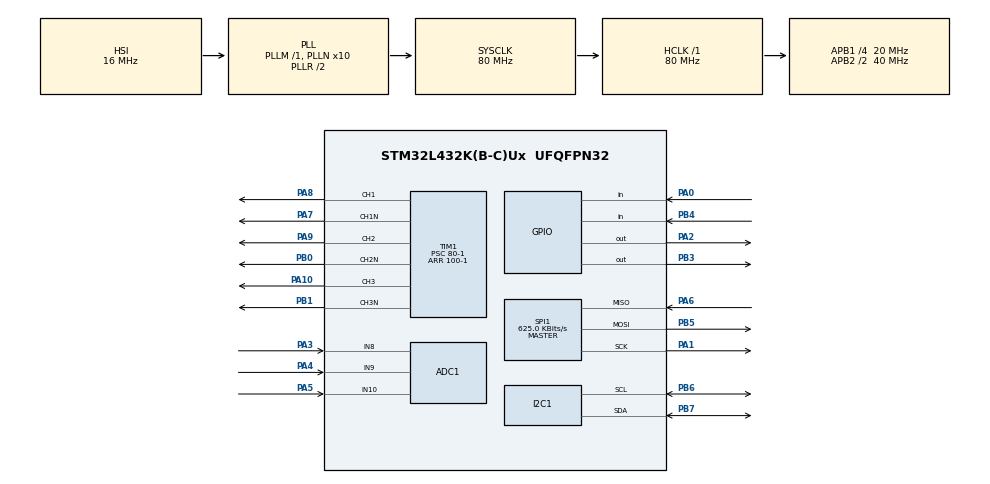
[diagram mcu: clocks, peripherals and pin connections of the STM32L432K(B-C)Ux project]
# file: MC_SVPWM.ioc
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ADC1.Channel-0\#ChannelRegularConversion=ADC_CHANNEL_9
ADC1.NbrOfConversionFlag=1
ADC1.OffsetNumber-0\#ChannelRegularConversion=ADC_OFFSET_NONE
ADC1.Rank-0\#ChannelRegularConversion=1
ADC1.SamplingTime-0\#ChannelRegularConversion=ADC_SAMPLETIME_2CYCLES_5
ADC1.master=1
I2C1.Timing=0x00404C74
Mcu.Family=STM32L4
Mcu.Name=STM32L432K(B-C)Ux
Mcu.Package=UFQFPN32
NVIC.PriorityGroup=NVIC_PRIORITYGROUP_4
NVIC.SPI1_IRQn=true\:0\:0\:false\:false\:true\:true\:true
NVIC.TIM1_BRK_TIM15_IRQn=true\:0\:0\:false\:false\:true\:true\:true
PA0.Signal=GPIO_Input
PA1.Mode=Full_Duplex_Master
PA1.Signal=SPI1_SCK
PA10.Signal=S_TIM1_CH3
PA15\ (JTDI).Signal=USART2_RX
PA2.Signal=GPIO_Output
PA3.Signal=ADCx_IN8
PA4.Signal=ADCx_IN9
PA5.Signal=ADCx_IN10
PA6.Mode=Full_Duplex_Master
PA6.Signal=SPI1_MISO
PA7.Mode=PWM Generation1 CH1 CH1N
PA7.Signal=TIM1_CH1N
PA8.Signal=S_TIM1_CH1
PA9.Signal=S_TIM1_CH2
PB0.Mode=PWM Generation2 CH2 CH2N
PB0.Signal=TIM1_CH2N
PB1.Mode=PWM Generation3 CH3 CH3N
PB1.Signal=TIM1_CH3N
PB3\ (JTDO-TRACESWO).Signal=GPIO_Output
PB4\ (NJTRST).Signal=GPIO_Input
PB5.Mode=Full_Duplex_Master
PB5.Signal=SPI1_MOSI
PB6.Mode=I2C
PB6.Signal=I2C1_SCL
PB7.Mode=I2C
PB7.Signal=I2C1_SDA
ProjectManager.HeapSize=0x200
ProjectManager.StackSize=0x400
ProjectManager.TargetToolchain=STM32CubeIDE
RCC.ADCFreq_Value=64000000
RCC.AHBFreq_Value=80000000
RCC.APB1CLKDivider=RCC_HCLK_DIV4
RCC.APB1Freq_Value=20000000
RCC.APB1TimFreq_Value=40000000
RCC.APB2CLKDivider=RCC_HCLK_DIV2
RCC.APB2Freq_Value=40000000
RCC.APB2TimFreq_Value=80000000
RCC.CortexFreq_Value=80000000
RCC.HCLKFreq_Value=80000000
RCC.HSE_VALUE=8000000
RCC.HSI48_VALUE=48000000
RCC.HSI_VALUE=16000000
RCC.LSE_VALUE=32768
RCC.MSI_VALUE=4000000
RCC.PLLN=10
RCC.PLLSourceVirtual=RCC_PLLSOURCE_HSI
RCC.SYSCLKFreq_VALUE=80000000
RCC.SYSCLKSource=RCC_SYSCLKSOURCE_PLLCLK
RCC.USBFreq_Value=64000000
RCC.VCOOutputFreq_Value=160000000
SH.ADCx_IN10.0=ADC1_IN10,IN10-Single-Ended
SH.ADCx_IN8.0=ADC1_IN8,IN8-Single-Ended
SH.ADCx_IN9.0=ADC1_IN9,IN9-Single-Ended
SH.S_TIM1_CH1.0=TIM1_CH1,PWM Generation1 CH1 CH1N
SH.S_TIM1_CH2.0=TIM1_CH2,PWM Generation2 CH2 CH2N
SH.S_TIM1_CH3.0=TIM1_CH3,PWM Generation3 CH3 CH3N
SPI1.BaudRatePrescaler=SPI_BAUDRATEPRESCALER_64
SPI1.CalculateBaudRate=625.0 KBits/s
SPI1.DataSize=SPI_DATASIZE_8BIT
SPI1.Direction=SPI_DIRECTION_2LINES
SPI1.Mode=SPI_MODE_MASTER
SPI1.NSSPMode=SPI_NSS_PULSE_DISABLE
SPI1.VirtualType=VM_MASTER
TIM1.Channel-PWM\ Generation1\ CH1\ CH1N=TIM_CHANNEL_1
TIM1.Channel-PWM\ Generation2\ CH2\ CH2N=TIM_CHANNEL_2
TIM1.Channel-PWM\ Generation3\ CH3\ CH3N=TIM_CHANNEL_3
TIM1.CounterMode=TIM_COUNTERMODE_CENTERALIGNED3
TIM1.DeadTime=100
TIM1.Period=100-1
TIM1.Prescaler=80-1
TIM15.Period=100-1
TIM15.Prescaler=80-1
VP_TIM15_VS_ClockSourceITR.Mode=TriggerSource_ITR0
VP_TIM1_VS_ClockSourceINT.Mode=Internal
VP_TIM1_VS_ClockSourceITR.Mode=TriggerSource_ITR0
board=custom

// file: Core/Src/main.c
/* USER CODE BEGIN Header */
/**
  ******************************************************************************
  * @file           : main.c
  * @brief          : Main program body
  ******************************************************************************
  * @attention
  *
  * <h2><center>&copy; Copyright (c) 2020 STMicroelectronics.
  * All rights reserved.</center></h2>
  *
  * This software component is licensed by ST under BSD 3-Clause license,
  * the "License"; You may not use this file except in compliance with the
  * License. You may obtain a copy of the License at:
  *                        opensource.org/licenses/BSD-3-Clause
  *
  ******************************************************************************
  */
/* USER CODE END Header */
#include "main.h"

/* USER CODE BEGIN Includes */
#include "math.h"
#include "VHZ.h"
#include "SVPWM.h"
#include "PID.h"
#include <stdint.h>
#include <stdio.h>
#include <string.h>
#include <DEFINES.H>
/* USER CODE END Includes */

ADC_HandleTypeDef hadc1;

I2C_HandleTypeDef hi2c1;

SPI_HandleTypeDef hspi1;

TIM_HandleTypeDef htim1;
TIM_HandleTypeDef htim15;

/* USER CODE BEGIN PV */
static const uint8_t TMP102_ADDR = 0X48 << 1;
static const uint8_t REG_TEMP = 0x00;
/* USER CODE END PV */

void SystemClock_Config(void);
static void MX_GPIO_Init(void);
static void MX_TIM1_Init(void);
static void MX_TIM15_Init(void);
static void MX_SPI1_Init(void);
static void MX_ADC1_Init(void);
static void MX_I2C1_Init(void);

/* USER CODE BEGIN 0 */
VHZPROFILE vhz1;
SVPWM svpwm1;
PIDController slip;
int OldSector;
float a,b,c = 0;
uint16_t raw = 0;
uint16_t nFaultData = 0;
uint16_t pwrGood = 0;
// 25AA040A instructions
const uint8_t EEPROM_READ = 0b00000011;
const uint8_t EEPROM_WRITE = 0b00000010;
const uint8_t EEPROM_WRDI = 0b00000100;
const uint8_t EEPROM_WREN = 0b00000110;
const uint8_t EEPROM_RDSR = 0b00000101;
const uint8_t EEPROM_WRSR = 0b00000001;

// Global flags
volatile uint8_t spi_xmit_flag = 0;
volatile uint8_t spi_recv_flag = 0;

/* USER CODE END 0 */

int main(void)
{
  /* USER CODE BEGIN 1 */
  SVPWM_Init(&svpwm1, 10000);
  VHZ_Init(&vhz1, 1, 0.1, 10, 100);
  PIDController_Init(&slip, 5, 0, -500, 500, 0, 0, 10000);

  // Setting up SPI buffer
  char spi_buf[20];
  char uart_buf[50];
  int uart_buf_len;
  uint8_t addr;
  uint8_t wip;
  uint8_t state = 0;
	HAL_StatusTypeDef ret;	//send	temp
	uint8_t buf [12];		// store temp
	int current;
	  int16_t val;
	  float temp_c;

  /* USER CODE END 1 */

  /* MCU Configuration--------------------------------------------------------*/

  /* Reset of all peripherals, Initializes the Flash interface and the Systick. */
  HAL_Init();

  /* Configure the system clock */
  SystemClock_Config();

  /* Initialize all configured peripherals */
  MX_GPIO_Init();
  MX_TIM1_Init();
  MX_TIM15_Init();
  MX_SPI1_Init();
  MX_ADC1_Init();
  MX_I2C1_Init();
  /* USER CODE BEGIN 2 */

  // Chip select pin should default high
  HAL_GPIO_WritePin(GPIOB, GPIO_PIN_3, GPIO_PIN_SET);

  // Uart print
  //uart_buf_len = sprintf(uart_buf, "SPI Test\r\n");
//  HAL_UART_Transmit(&huart2, (uint8_t*)uart_buf, uart_buf_len, 100);

  // Set starting address in EEPROM (arbitrarily set to 5). Note that for the
  // 25AA040A, we can't do sequential writes outside of page (16 bytes)
  addr = 0x05;

  // Enable write enable latch (allow write operations)
//  HAL_GPIO_WritePin(GPIOB, GPIO_PIN_6, GPIO_PIN_RESET);
//  HAL_SPI_Transmit(&hspi1, (uint8_t*)&EEPROM_WREN, 1, 100);
//  HAL_GPIO_WritePin(GPIOB, GPIO_PIN_6, GPIO_PIN_SET);
//

  HAL_TIM_PWM_Start(&htim1, TIM_CHANNEL_1);
  HAL_TIMEx_PWMN_Start(&htim1, TIM_CHANNEL_1);
  HAL_TIM_PWM_Start(&htim1, TIM_CHANNEL_2);
  HAL_TIMEx_PWMN_Start(&htim1, TIM_CHANNEL_2);
  HAL_TIM_PWM_Start(&htim1, TIM_CHANNEL_3);
  HAL_TIMEx_PWMN_Start(&htim1, TIM_CHANNEL_3);
  HAL_TIM_Base_Start_IT(&htim15);
  /* USER CODE END 2 */

  /* Infinite loop */
  /* USER CODE BEGIN WHILE */
while(1){
	nFaultData = HAL_GPIO_ReadPin(GPIOA, GPIO_PIN_0);
	HAL_ADC_Start(&hadc1);
	HAL_ADC_PollForConversion(&hadc1, HAL_MAX_DELAY);
	raw = HAL_ADC_GetValue(&hadc1);
	pwrGood = HAL_GPIO_ReadPin(GPIOA, GPIO_PIN_4);

	//Current sensing start
	current = current_sensing (raw);
	//Current sensing end

	// Temperature sensing beginning
	buf [0] = REG_TEMP;//REQUEST TO READ
		  ret = HAL_I2C_Master_Transmit(&hi2c1, TMP102_ADDR, buf, 1, HAL_MAX_DELAY);
		  if (ret != HAL_OK)
		  {
			  	 strcpy ((char*)buf, "Error Tx\r\n");
		  }
		  else
		  {
			  //READ 2 bytes from the temperature register
		      ret = HAL_I2C_Master_Receive(&hi2c1, TMP102_ADDR, buf, 2, HAL_MAX_DELAY);
			  if (ret != HAL_OK)
			  {
				  	 strcpy ((char*)buf, "Error Tx\r\n");
			  }
			  else
			  {
				  //combine the bytes
				  val = ((int16_t)buf[0]<<4) | (buf[1] >> 4);
				  //convert to 2's complement, since temperature can be negative
				  if  (val > 0x7FF)
				  {
					  val |= 0xF000;
				  }
				  // Convert to float temperature value (Celsius)
				  temp_c = val * 0.0625;
				  // Convert temperature to decimal format
				  temp_c *= 100;
				  sprintf ((char*)buf,
			              "%u.%u C\r\n",
						  ((unsigned int)temp_c/100),
						  ((unsigned int)temp_c %100));
			  }
		  }
		  //HAL_UART_Transmit(&huart2, buf, strlen((char*)buf), HAL_MAX_DELAY);

		// Temperature sensing end

	HAL_Delay(1000);
	 /* switch(state)
	      {
	        // Transmit
	        case 0:

	          // First 2 bytes of buffer are instruction and address
	          spi_buf[0] = EEPROM_WRITE;
	          spi_buf[1] = addr;

	          // Fill buffer with stuff to write to EEPROM
	          for (int i = 0; i < 10; i++)
	          {
	            spi_buf[2 + i] = i;
	          }

	          // Enable write enable latch (allow write operations)
	          HAL_GPIO_WritePin(GPIOB, GPIO_PIN_6, GPIO_PIN_RESET);
	          HAL_SPI_Transmit(&hspi1, (uint8_t *)&EEPROM_WREN, 1, 100);
	          HAL_GPIO_WritePin(GPIOB, GPIO_PIN_6, GPIO_PIN_SET);

	          // Perform non-blocking write to SPI
	          HAL_GPIO_WritePin(GPIOB, GPIO_PIN_6, GPIO_PIN_RESET);
	          HAL_SPI_Transmit_IT(&hspi1, (uint8_t *)spi_buf, 12);

			  //Getting board to compile for DRVH305

	          // Go to next state: waiting for interrupt flag
	          state += 1;

	          break;

	        // Wait for transmit flag
	        case 1:

	          if (spi_xmit_flag){
	            // Clear flag and go to next state
	            spi_xmit_flag = 0;
	            state += 1;
	          }

	          break;

	        // Wait for WIP bit to be cleared
	        case 2:

	          // Read status register
	         /* HAL_GPIO_WritePin(GPIOB, GPIO_PIN_6, GPIO_PIN_RESET);
	          HAL_SPI_Transmit(&hspi1, (uint8_t *)&EEPROM_RDSR, 1, 100);
	          HAL_SPI_Receive(&hspi3, (uint8_t *)spi_buf, 1, 100);
	          HAL_GPIO_WritePin(GPIOB, GPIO_PIN_6, GPIO_PIN_SET);

	          // Mask out WIP bit
	          wip = spi_buf[0] & 0b00000001;

	          // If WIP is cleared, go to next state
	          if (wip == 0)
	          {
	            state += 1;
	          }

	          break;

	        // Set up for interrupt-based SPI receive
	        case 3:

	          // Clear SPI buffer
	          for (int i = 0; i < 12; i++)
	          {
	            spi_buf[i] = 0;
	          }

	          // Read the 10 bytes back
	          HAL_GPIO_WritePin(GPIOB, GPIO_PIN_6, GPIO_PIN_RESET);
	          HAL_SPI_Transmit(&hspi1, (uint8_t *)&EEPROM_READ, 1, 100);
	          HAL_SPI_Transmit(&hspi1, (uint8_t *)&addr, 1, 100);
	          HAL_SPI_Receive_IT(&hspi3, (uint8_t *)spi_buf, 10);

	          // Go to next state: waiting for receive to finish
	          state += 1;

	          break;

	        // Wait for receive flag
	        case 4:

	          if (spi_recv_flag)
	          {
	            // Clear flag and go to next state
	            spi_recv_flag = 0;
	            state += 1;
	          }

	          break;

	        // Print out received bytes and wait before retransmitting
	        case 5:

	          // Print out bytes
//	          for (int i = 0; i < 10; i++)
//	          {
//	            uart_buf_len = sprintf(uart_buf,
//	                                    "0xx ",(unsigned int)spi_buf[i]);
//	            HAL_UART_Transmit(&huart2, (uint8_t *)uart_buf, uart_buf_len, 100);
//	          }

//	          // Print newline
//	          uart_buf_len = sprintf(uart_buf, "\r\n");
//	          HAL_UART_Transmit(&huart2, (uint8_t *)uart_buf, uart_buf_len, 100);

	          // Wait a few seconds before retransmitting (yes, I know that this is
	          // blocking--you can make it non-blocking if you wish. I'm lazy.)
	          HAL_Delay(1000);
	          state = 0;

	          break;

	        default:
	          break;
	      }*/

    /* USER CODE END WHILE */

    /* USER CODE BEGIN 3 */
/*	if(vhz1.Freq >= vhz1.FreqRated){
		vhz1.Freq = 0.01;
	}
	else{
		vhz1.Freq += 0.001;
	}
	if(a >= 10){
		a = 0;
	}
	else{
		a += 0.001;
	}
	HAL_Delay(1);*/
  }
  /* USER CODE END 3 */
}

void SystemClock_Config(void)
{
  RCC_OscInitTypeDef RCC_OscInitStruct = {0};
  RCC_ClkInitTypeDef RCC_ClkInitStruct = {0};
  RCC_PeriphCLKInitTypeDef PeriphClkInit = {0};

  /** Initializes the RCC Oscillators according to the specified parameters
  * in the RCC_OscInitTypeDef structure.
  */
  RCC_OscInitStruct.OscillatorType = RCC_OSCILLATORTYPE_HSI;
  RCC_OscInitStruct.HSIState = RCC_HSI_ON;
  RCC_OscInitStruct.HSICalibrationValue = RCC_HSICALIBRATION_DEFAULT;
  RCC_OscInitStruct.PLL.PLLState = RCC_PLL_ON;
  RCC_OscInitStruct.PLL.PLLSource = RCC_PLLSOURCE_HSI;
  RCC_OscInitStruct.PLL.PLLM = 1;
  RCC_OscInitStruct.PLL.PLLN = 10;
  RCC_OscInitStruct.PLL.PLLP = RCC_PLLP_DIV7;
  RCC_OscInitStruct.PLL.PLLQ = RCC_PLLQ_DIV2;
  RCC_OscInitStruct.PLL.PLLR = RCC_PLLR_DIV2;
  if (HAL_RCC_OscConfig(&RCC_OscInitStruct) != HAL_OK)
  {
    Error_Handler();
  }
  /** Initializes the CPU, AHB and APB buses clocks
  */
  RCC_ClkInitStruct.ClockType = RCC_CLOCKTYPE_HCLK|RCC_CLOCKTYPE_SYSCLK
                              |RCC_CLOCKTYPE_PCLK1|RCC_CLOCKTYPE_PCLK2;
  RCC_ClkInitStruct.SYSCLKSource = RCC_SYSCLKSOURCE_PLLCLK;
  RCC_ClkInitStruct.AHBCLKDivider = RCC_SYSCLK_DIV1;
  RCC_ClkInitStruct.APB1CLKDivider = RCC_HCLK_DIV4;
  RCC_ClkInitStruct.APB2CLKDivider = RCC_HCLK_DIV2;

  if (HAL_RCC_ClockConfig(&RCC_ClkInitStruct, FLASH_LATENCY_4) != HAL_OK)
  {
    Error_Handler();
  }
  PeriphClkInit.PeriphClockSelection = RCC_PERIPHCLK_I2C1|RCC_PERIPHCLK_ADC;
  PeriphClkInit.I2c1ClockSelection = RCC_I2C1CLKSOURCE_PCLK1;
  PeriphClkInit.AdcClockSelection = RCC_ADCCLKSOURCE_PLLSAI1;
  PeriphClkInit.PLLSAI1.PLLSAI1Source = RCC_PLLSOURCE_HSI;
  PeriphClkInit.PLLSAI1.PLLSAI1M = 1;
  PeriphClkInit.PLLSAI1.PLLSAI1N = 8;
  PeriphClkInit.PLLSAI1.PLLSAI1P = RCC_PLLP_DIV7;
  PeriphClkInit.PLLSAI1.PLLSAI1Q = RCC_PLLQ_DIV2;
  PeriphClkInit.PLLSAI1.PLLSAI1R = RCC_PLLR_DIV2;
  PeriphClkInit.PLLSAI1.PLLSAI1ClockOut = RCC_PLLSAI1_ADC1CLK;
  if (HAL_RCCEx_PeriphCLKConfig(&PeriphClkInit) != HAL_OK)
  {
    Error_Handler();
  }
  /** Configure the main internal regulator output voltage
  */
  if (HAL_PWREx_ControlVoltageScaling(PWR_REGULATOR_VOLTAGE_SCALE1) != HAL_OK)
  {
    Error_Handler();
  }
}

static void MX_ADC1_Init(void)
{

  ADC_ChannelConfTypeDef sConfig = {0};

  /** Common config
  */
  hadc1.Instance = ADC1;
  hadc1.Init.ClockPrescaler = ADC_CLOCK_ASYNC_DIV1;
  hadc1.Init.Resolution = ADC_RESOLUTION_12B;
  hadc1.Init.DataAlign = ADC_DATAALIGN_RIGHT;
  hadc1.Init.ScanConvMode = ADC_SCAN_DISABLE;
  hadc1.Init.EOCSelection = ADC_EOC_SINGLE_CONV;
  hadc1.Init.LowPowerAutoWait = DISABLE;
  hadc1.Init.ContinuousConvMode = DISABLE;
  hadc1.Init.NbrOfConversion = 1;
  hadc1.Init.DiscontinuousConvMode = DISABLE;
  hadc1.Init.ExternalTrigConv = ADC_SOFTWARE_START;
  hadc1.Init.ExternalTrigConvEdge = ADC_EXTERNALTRIGCONVEDGE_NONE;
  hadc1.Init.DMAContinuousRequests = DISABLE;
  hadc1.Init.Overrun = ADC_OVR_DATA_PRESERVED;
  hadc1.Init.OversamplingMode = DISABLE;
  if (HAL_ADC_Init(&hadc1) != HAL_OK)
  {
    Error_Handler();
  }
  /** Configure Regular Channel
  */
  sConfig.Channel = ADC_CHANNEL_9;
  sConfig.Rank = ADC_REGULAR_RANK_1;
  sConfig.SamplingTime = ADC_SAMPLETIME_2CYCLES_5;
  sConfig.SingleDiff = ADC_SINGLE_ENDED;
  sConfig.OffsetNumber = ADC_OFFSET_NONE;
  sConfig.Offset = 0;
  if (HAL_ADC_ConfigChannel(&hadc1, &sConfig) != HAL_OK)
  {
    Error_Handler();
  }

}

static void MX_I2C1_Init(void)
{

  hi2c1.Instance = I2C1;
  hi2c1.Init.Timing = 0x00404C74;
  hi2c1.Init.OwnAddress1 = 0;
  hi2c1.Init.AddressingMode = I2C_ADDRESSINGMODE_7BIT;
  hi2c1.Init.DualAddressMode = I2C_DUALADDRESS_DISABLE;
  hi2c1.Init.OwnAddress2 = 0;
  hi2c1.Init.OwnAddress2Masks = I2C_OA2_NOMASK;
  hi2c1.Init.GeneralCallMode = I2C_GENERALCALL_DISABLE;
  hi2c1.Init.NoStretchMode = I2C_NOSTRETCH_DISABLE;
  if (HAL_I2C_Init(&hi2c1) != HAL_OK)
  {
    Error_Handler();
  }
  /** Configure Analogue filter
  */
  if (HAL_I2CEx_ConfigAnalogFilter(&hi2c1, I2C_ANALOGFILTER_ENABLE) != HAL_OK)
  {
    Error_Handler();
  }
  /** Configure Digital filter
  */
  if (HAL_I2CEx_ConfigDigitalFilter(&hi2c1, 0) != HAL_OK)
  {
    Error_Handler();
  }

}

static void MX_SPI1_Init(void)
{

  /* SPI1 parameter configuration*/
  hspi1.Instance = SPI1;
  hspi1.Init.Mode = SPI_MODE_MASTER;
  hspi1.Init.Direction = SPI_DIRECTION_2LINES;
  hspi1.Init.DataSize = SPI_DATASIZE_8BIT;
  hspi1.Init.CLKPolarity = SPI_POLARITY_LOW;
  hspi1.Init.CLKPhase = SPI_PHASE_1EDGE;
  hspi1.Init.NSS = SPI_NSS_SOFT;
  hspi1.Init.BaudRatePrescaler = SPI_BAUDRATEPRESCALER_64;
  hspi1.Init.FirstBit = SPI_FIRSTBIT_MSB;
  hspi1.Init.TIMode = SPI_TIMODE_DISABLE;
  hspi1.Init.CRCCalculation = SPI_CRCCALCULATION_DISABLE;
  hspi1.Init.CRCPolynomial = 7;
  hspi1.Init.CRCLength = SPI_CRC_LENGTH_DATASIZE;
  hspi1.Init.NSSPMode = SPI_NSS_PULSE_DISABLE;
  if (HAL_SPI_Init(&hspi1) != HAL_OK)
  {
    Error_Handler();
  }

}

static void MX_TIM1_Init(void)
{

  TIM_ClockConfigTypeDef sClockSourceConfig = {0};
  TIM_SlaveConfigTypeDef sSlaveConfig = {0};
  TIM_MasterConfigTypeDef sMasterConfig = {0};
  TIM_OC_InitTypeDef sConfigOC = {0};
  TIM_BreakDeadTimeConfigTypeDef sBreakDeadTimeConfig = {0};

  htim1.Instance = TIM1;
  htim1.Init.Prescaler = 80-1;
  htim1.Init.CounterMode = TIM_COUNTERMODE_CENTERALIGNED3;
  htim1.Init.Period = 100-1;
  htim1.Init.ClockDivision = TIM_CLOCKDIVISION_DIV1;
  htim1.Init.RepetitionCounter = 0;
  htim1.Init.AutoReloadPreload = TIM_AUTORELOAD_PRELOAD_DISABLE;
  if (HAL_TIM_Base_Init(&htim1) != HAL_OK)
  {
    Error_Handler();
  }
  sClockSourceConfig.ClockSource = TIM_CLOCKSOURCE_INTERNAL;
  if (HAL_TIM_ConfigClockSource(&htim1, &sClockSourceConfig) != HAL_OK)
  {
    Error_Handler();
  }
  if (HAL_TIM_PWM_Init(&htim1) != HAL_OK)
  {
    Error_Handler();
  }
  sSlaveConfig.SlaveMode = TIM_SLAVEMODE_DISABLE;
  sSlaveConfig.InputTrigger = TIM_TS_ITR0;
  if (HAL_TIM_SlaveConfigSynchro(&htim1, &sSlaveConfig) != HAL_OK)
  {
    Error_Handler();
  }
  sMasterConfig.MasterOutputTrigger = TIM_TRGO_RESET;
  sMasterConfig.MasterOutputTrigger2 = TIM_TRGO2_RESET;
  sMasterConfig.MasterSlaveMode = TIM_MASTERSLAVEMODE_DISABLE;
  if (HAL_TIMEx_MasterConfigSynchronization(&htim1, &sMasterConfig) != HAL_OK)
  {
    Error_Handler();
  }
  sConfigOC.OCMode = TIM_OCMODE_PWM1;
  sConfigOC.Pulse = 0;
  sConfigOC.OCPolarity = TIM_OCPOLARITY_HIGH;
  sConfigOC.OCNPolarity = TIM_OCNPOLARITY_HIGH;
  sConfigOC.OCFastMode = TIM_OCFAST_DISABLE;
  sConfigOC.OCIdleState = TIM_OCIDLESTATE_RESET;
  sConfigOC.OCNIdleState = TIM_OCNIDLESTATE_RESET;
  if (HAL_TIM_PWM_ConfigChannel(&htim1, &sConfigOC, TIM_CHANNEL_1) != HAL_OK)
  {
    Error_Handler();
  }
  if (HAL_TIM_PWM_ConfigChannel(&htim1, &sConfigOC, TIM_CHANNEL_2) != HAL_OK)
  {
    Error_Handler();
  }
  if (HAL_TIM_PWM_ConfigChannel(&htim1, &sConfigOC, TIM_CHANNEL_3) != HAL_OK)
  {
    Error_Handler();
  }
  sBreakDeadTimeConfig.OffStateRunMode = TIM_OSSR_DISABLE;
  sBreakDeadTimeConfig.OffStateIDLEMode = TIM_OSSI_DISABLE;
  sBreakDeadTimeConfig.LockLevel = TIM_LOCKLEVEL_OFF;
  sBreakDeadTimeConfig.DeadTime = 100;
  sBreakDeadTimeConfig.BreakState = TIM_BREAK_DISABLE;
  sBreakDeadTimeConfig.BreakPolarity = TIM_BREAKPOLARITY_HIGH;
  sBreakDeadTimeConfig.BreakFilter = 0;
  sBreakDeadTimeConfig.Break2State = TIM_BREAK2_DISABLE;
  sBreakDeadTimeConfig.Break2Polarity = TIM_BREAK2POLARITY_HIGH;
  sBreakDeadTimeConfig.Break2Filter = 0;
  sBreakDeadTimeConfig.AutomaticOutput = TIM_AUTOMATICOUTPUT_DISABLE;
  if (HAL_TIMEx_ConfigBreakDeadTime(&htim1, &sBreakDeadTimeConfig) != HAL_OK)
  {
    Error_Handler();
  }
  HAL_TIM_MspPostInit(&htim1);

}

static void MX_TIM15_Init(void)
{

  TIM_SlaveConfigTypeDef sSlaveConfig = {0};
  TIM_MasterConfigTypeDef sMasterConfig = {0};

  htim15.Instance = TIM15;
  htim15.Init.Prescaler = 80-1;
  htim15.Init.CounterMode = TIM_COUNTERMODE_UP;
  htim15.Init.Period = 100-1;
  htim15.Init.ClockDivision = TIM_CLOCKDIVISION_DIV1;
  htim15.Init.RepetitionCounter = 0;
  htim15.Init.AutoReloadPreload = TIM_AUTORELOAD_PRELOAD_DISABLE;
  if (HAL_TIM_Base_Init(&htim15) != HAL_OK)
  {
    Error_Handler();
  }
  sSlaveConfig.SlaveMode = TIM_SLAVEMODE_DISABLE;
  sSlaveConfig.InputTrigger = TIM_TS_ITR0;
  if (HAL_TIM_SlaveConfigSynchro(&htim15, &sSlaveConfig) != HAL_OK)
  {
    Error_Handler();
  }
  sMasterConfig.MasterOutputTrigger = TIM_TRGO_RESET;
  sMasterConfig.MasterSlaveMode = TIM_MASTERSLAVEMODE_DISABLE;
  if (HAL_TIMEx_MasterConfigSynchronization(&htim15, &sMasterConfig) != HAL_OK)
  {
    Error_Handler();
  }

}

static void MX_GPIO_Init(void)
{
  GPIO_InitTypeDef GPIO_InitStruct = {0};

  /* GPIO Ports Clock Enable */
  __HAL_RCC_GPIOA_CLK_ENABLE();
  __HAL_RCC_GPIOB_CLK_ENABLE();

  /*Configure GPIO pin Output Level */
  HAL_GPIO_WritePin(GPIOA, GPIO_PIN_2, GPIO_PIN_RESET);

  /*Configure GPIO pin Output Level */
  HAL_GPIO_WritePin(GPIOB, GPIO_PIN_3, GPIO_PIN_RESET);

  /*Configure GPIO pin : PA0 */
  GPIO_InitStruct.Pin = GPIO_PIN_0;
  GPIO_InitStruct.Mode = GPIO_MODE_INPUT;
  GPIO_InitStruct.Pull = GPIO_NOPULL;
  HAL_GPIO_Init(GPIOA, &GPIO_InitStruct);

  /*Configure GPIO pin : PA2 */
  GPIO_InitStruct.Pin = GPIO_PIN_2;
  GPIO_InitStruct.Mode = GPIO_MODE_OUTPUT_PP;
  GPIO_InitStruct.Pull = GPIO_NOPULL;
  GPIO_InitStruct.Speed = GPIO_SPEED_FREQ_LOW;
  HAL_GPIO_Init(GPIOA, &GPIO_InitStruct);

  /*Configure GPIO pin : PA15 */
  GPIO_InitStruct.Pin = GPIO_PIN_15;
  GPIO_InitStruct.Mode = GPIO_MODE_AF_PP;
  GPIO_InitStruct.Pull = GPIO_NOPULL;
  GPIO_InitStruct.Speed = GPIO_SPEED_FREQ_VERY_HIGH;
  GPIO_InitStruct.Alternate = GPIO_AF3_USART2;
  HAL_GPIO_Init(GPIOA, &GPIO_InitStruct);

  /*Configure GPIO pin : PB3 */
  GPIO_InitStruct.Pin = GPIO_PIN_3;
  GPIO_InitStruct.Mode = GPIO_MODE_OUTPUT_PP;
  GPIO_InitStruct.Pull = GPIO_NOPULL;
  GPIO_InitStruct.Speed = GPIO_SPEED_FREQ_LOW;
  HAL_GPIO_Init(GPIOB, &GPIO_InitStruct);

  /*Configure GPIO pin : PB4 */
  GPIO_InitStruct.Pin = GPIO_PIN_4;
  GPIO_InitStruct.Mode = GPIO_MODE_INPUT;
  GPIO_InitStruct.Pull = GPIO_NOPULL;
  HAL_GPIO_Init(GPIOB, &GPIO_InitStruct);

}

/* USER CODE BEGIN 4 */
#if defined (MODE) && (MODE == 0)
void HAL_TIM_PeriodElapsedCallback(TIM_HandleTypeDef *htim) {
	OldSector = svpwm1.SectorPointer;W
	SVPWM_Update(&svpwm1, &vhz1, &htim1);
	HAL_GPIO_WritePin(LD1_GPIO_Port, LD1_Pin, GPIO_PIN_RESET);
	Count_Up(&svpwm1, OldSector);

}
#endif

void HAL_TIM_PeriodElapsedCallback(TIM_HandleTypeDef *htim) {
	char msg[10];

	OldSector = svpwm1.SectorPointer;
	VHZ_Update(&vhz1);
	SVPWM_Update(&svpwm1, &vhz1, &htim1);
	//Count_Up(&svpwm1, OldSector);

	sprintf(msg, "%hu\r\n",raw);
	//HAL_UART_Transmit(&huart1,(uint8_t)msg, strlen(msg), HAL_MAX_DELAY);

}

#if defined (MODE) && (MODE == 2)
void HAL_TIM_PeriodElapsedCallback(TIM_HandleTypeDef *htim) {
	OldSector = svpwm1.SectorPointer;
	b = PIDController_Update(&slip, 5.0f, a);
	VHZ_Update(&vhz1);
	SVPWM_Update(&svpwm1, &vhz1, &htim1);
	HAL_GPIO_WritePin(LD1_GPIO_Port, LD1_Pin, GPIO_PIN_RESET);
	Count_Up(&svpwm1, OldSector);

}
#endif

// This is called when SPI transmit is done
void HAL_SPI_TxCpltCallback (SPI_HandleTypeDef * hspi)
{
  // Set CS pin to high and raise flag
  HAL_GPIO_WritePin(GPIOB, GPIO_PIN_3, GPIO_PIN_SET);
  spi_xmit_flag = 1;
}

// This is called when SPI receive is done
void HAL_SPI_RxCpltCallback (SPI_HandleTypeDef * hspi)
{
  // Set CS pin to high and raise flag
  HAL_GPIO_WritePin(GPIOB, GPIO_PIN_3, GPIO_PIN_SET);
  spi_recv_flag = 1;
}

unsigned int adc_voltage_conversion (uint16_t raw_a)
{
	return (unsigned int) (raw_a / ADC_VOLTAGE_CONVERSION);
}

unsigned int current_sensing (uint16_t raw_a)
{
	raw_a = adc_voltage_conversion (raw_a);
	if (raw_a != INPUT_VOLTAGE)
		return (unsigned int) (THERMISTOR_RESISTANCE * raw_a / (INPUT_VOLTAGE - raw_a));
	else
		return raw_a;
}
/* USER CODE END 4 */

void Error_Handler(void)
{
}

/************************ (C) COPYRIGHT STMicroelectronics *****END OF FILE****/
